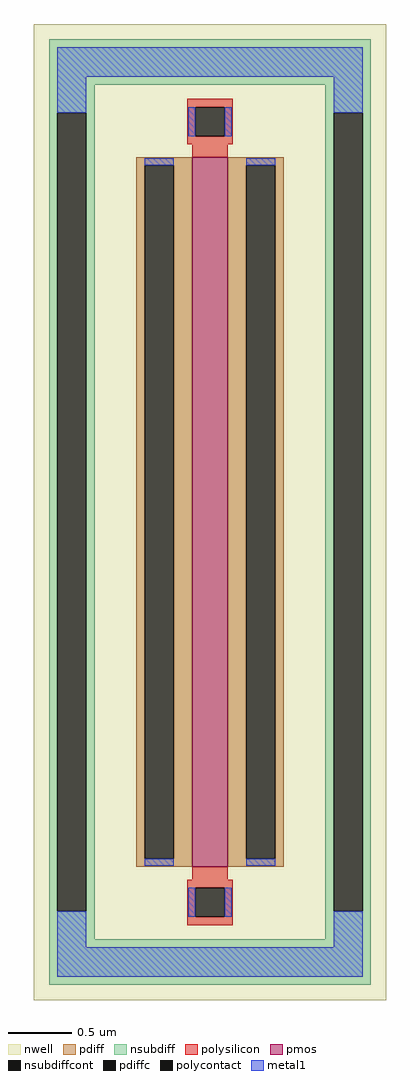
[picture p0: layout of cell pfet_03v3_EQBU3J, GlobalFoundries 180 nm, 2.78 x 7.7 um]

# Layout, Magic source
magic
tech gf180mcuD
magscale 1 10
<< nwell >>
rect -278 -770 278 770
<< pmos >>
rect -28 -560 28 560
<< pdiff >>
rect -116 547 -28 560
rect -116 -547 -103 547
rect -57 -547 -28 547
rect -116 -560 -28 -547
rect 28 547 116 560
rect 28 -547 57 547
rect 103 -547 116 547
rect 28 -560 116 -547
<< pdiffc >>
rect -103 -547 -57 547
rect 57 -547 103 547
<< nsubdiff >>
rect -254 674 254 746
rect -254 630 -182 674
rect -254 -630 -241 630
rect -195 -630 -182 630
rect 182 630 254 674
rect -254 -674 -182 -630
rect 182 -630 195 630
rect 241 -630 254 630
rect 182 -674 254 -630
rect -254 -746 254 -674
<< nsubdiffcont >>
rect -241 -630 -195 630
rect 195 -630 241 630
<< polysilicon >>
rect -36 639 36 652
rect -36 593 -23 639
rect 23 593 36 639
rect -36 580 36 593
rect -28 560 28 580
rect -28 -580 28 -560
rect -36 -593 36 -580
rect -36 -639 -23 -593
rect 23 -639 36 -593
rect -36 -652 36 -639
<< polycontact >>
rect -23 593 23 639
rect -23 -639 23 -593
<< metal1 >>
rect -241 687 241 733
rect -241 630 -195 687
rect -34 593 -23 639
rect 23 593 34 639
rect 195 630 241 687
rect -103 547 -57 558
rect -103 -558 -57 -547
rect 57 547 103 558
rect 57 -558 103 -547
rect -241 -687 -195 -630
rect -34 -639 -23 -593
rect 23 -639 34 -593
rect 195 -687 241 -630
rect -241 -733 241 -687
<< properties >>
string FIXED_BBOX -218 -710 218 710
string gencell pfet_03v3
string library gf180mcu
string parameters w 5.6 l 0.280 m 1 nf 1 diffcov 100 polycov 100 guard 1 glc 1 grc 1 gtc 0 gbc 0 tbcov 100 rlcov 100 topc 1 botc 1 poverlap 0 doverlap 1 lmin 0.28 wmin 0.22 class mosfet full_metal 1 compatible {pfet_03v3 pfet_05v0 pfet_06v0}
<< end >>
